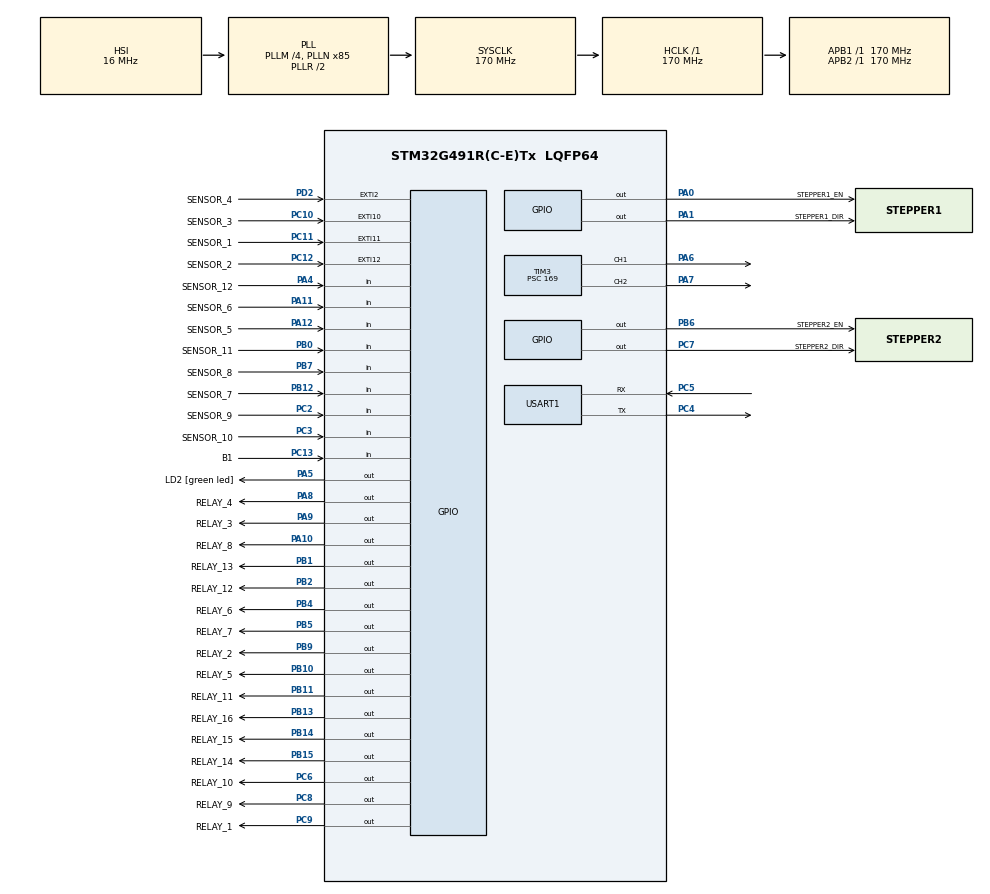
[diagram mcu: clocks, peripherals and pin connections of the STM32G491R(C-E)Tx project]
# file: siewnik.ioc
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Mcu.Family=STM32G4
Mcu.Name=STM32G491R(C-E)Tx
Mcu.Package=LQFP64
NVIC.EXTI15_10_IRQn=true\:0\:0\:false\:false\:true\:true\:true\:true
NVIC.EXTI2_IRQn=true\:0\:0\:false\:false\:true\:true\:true\:true
NVIC.PriorityGroup=NVIC_PRIORITYGROUP_4
NVIC.TIM3_IRQn=true\:0\:0\:false\:false\:true\:true\:true\:true
NVIC.USART1_IRQn=true\:0\:0\:false\:false\:true\:true\:true\:true
PA0.GPIO_Label=STEPPER1_EN
PA0.Signal=GPIO_Output
PA1.GPIO_Label=STEPPER1_DIR
PA1.Signal=GPIO_Output
PA10.GPIO_Label=RELAY_8
PA10.Signal=GPIO_Output
PA11.GPIO_Label=SENSOR_6
PA11.GPIO_PuPd=GPIO_PULLDOWN
PA11.Signal=GPIO_Input
PA12.GPIO_Label=SENSOR_5
PA12.Signal=GPIO_Input
PA13.Signal=SYS_JTMS-SWDIO
PA14.Signal=SYS_JTCK-SWCLK
PA15.Signal=SYS_JTDI
PA2.GPIO_Label=LPUART1_TX [STLINKV3E_VCP_RX]
PA2.Signal=LPUART1_TX
PA3.GPIO_Label=LPUART1_RX [STLINKV3E_VCP_TX]
PA3.Signal=LPUART1_RX
PA4.GPIO_Label=SENSOR_12
PA4.GPIO_PuPd=GPIO_PULLDOWN
PA4.Signal=GPIO_Input
PA5.GPIO_Label=LD2 [green led]
PA5.Signal=GPIO_Output
PA6.Signal=S_TIM3_CH1
PA7.Signal=S_TIM3_CH2
PA8.GPIO_Label=RELAY_4
PA8.Signal=GPIO_Output
PA9.GPIO_Label=RELAY_3
PA9.Signal=GPIO_Output
PB0.GPIO_Label=SENSOR_11
PB0.GPIO_PuPd=GPIO_PULLDOWN
PB0.Signal=GPIO_Input
PB1.GPIO_Label=RELAY_13
PB1.Signal=GPIO_Output
PB10.GPIO_Label=RELAY_5
PB10.Signal=GPIO_Output
PB11.GPIO_Label=RELAY_11
PB11.Signal=GPIO_Output
PB12.GPIO_Label=SENSOR_7
PB12.GPIO_PuPd=GPIO_PULLDOWN
PB12.Signal=GPIO_Input
PB13.GPIO_Label=RELAY_16
PB13.Signal=GPIO_Output
PB14.GPIO_Label=RELAY_15
PB14.Signal=GPIO_Output
PB15.GPIO_Label=RELAY_14
PB15.Signal=GPIO_Output
PB2.GPIO_Label=RELAY_12
PB2.Signal=GPIO_Output
PB3.GPIO_Label=T_SWO
PB3.Signal=SYS_JTDO-SWO
PB4.GPIO_Label=RELAY_6
PB4.Signal=GPIO_Output
PB5.GPIO_Label=RELAY_7
PB5.Signal=GPIO_Output
PB6.GPIO_Label=STEPPER2_EN
PB6.Signal=GPIO_Output
PB7.GPIO_Label=SENSOR_8
PB7.GPIO_PuPd=GPIO_PULLDOWN
PB7.Signal=GPIO_Input
PB9.GPIO_Label=RELAY_2
PB9.Signal=GPIO_Output
PC10.GPIO_Label=SENSOR_3
PC10.GPIO_ModeDefaultEXTI=GPIO_MODE_IT_FALLING
PC10.GPIO_PuPd=GPIO_PULLDOWN
PC10.Signal=GPXTI10
PC11.GPIO_Label=SENSOR_1
PC11.GPIO_ModeDefaultEXTI=GPIO_MODE_IT_FALLING
PC11.GPIO_PuPd=GPIO_PULLDOWN
PC11.Signal=GPXTI11
PC12.GPIO_Label=SENSOR_2
PC12.GPIO_ModeDefaultEXTI=GPIO_MODE_IT_FALLING
PC12.GPIO_PuPd=GPIO_PULLDOWN
PC12.Signal=GPXTI12
PC13.GPIO_Label=B1
PC13.GPIO_PuPd=GPIO_PULLDOWN
PC13.Signal=GPIO_Input
PC14-OSC32_IN.Signal=RCC_OSC32_IN
PC15-OSC32_OUT.Signal=RCC_OSC32_OUT
PC2.GPIO_Label=SENSOR_9
PC2.GPIO_PuPd=GPIO_PULLDOWN
PC2.Signal=GPIO_Input
PC3.GPIO_Label=SENSOR_10
PC3.GPIO_PuPd=GPIO_PULLDOWN
PC3.Signal=GPIO_Input
PC4.Mode=Asynchronous
PC4.Signal=USART1_TX
PC5.Mode=Asynchronous
PC5.Signal=USART1_RX
PC6.GPIO_Label=RELAY_10
PC6.Signal=GPIO_Output
PC7.GPIO_Label=STEPPER2_DIR
PC7.Signal=GPIO_Output
PC8.GPIO_Label=RELAY_9
PC8.Signal=GPIO_Output
PC9.GPIO_Label=RELAY_1
PC9.Signal=GPIO_Output
PD2.GPIO_Label=SENSOR_4
PD2.GPIO_ModeDefaultEXTI=GPIO_MODE_IT_FALLING
PD2.GPIO_PuPd=GPIO_PULLDOWN
PD2.Signal=GPXTI2
PF0-OSC_IN.Signal=RCC_OSC_IN
PF1-OSC_OUT.Signal=RCC_OSC_OUT
ProjectManager.HeapSize=0x200
ProjectManager.StackSize=0x400
ProjectManager.TargetToolchain=STM32CubeIDE
RCC.ADC12Freq_Value=170000000
RCC.ADC345Freq_Value=170000000
RCC.AHBFreq_Value=170000000
RCC.APB1Freq_Value=170000000
RCC.APB1TimFreq_Value=170000000
RCC.APB2Freq_Value=170000000
RCC.APB2TimFreq_Value=170000000
RCC.CortexFreq_Value=170000000
RCC.EXTERNAL_CLOCK_VALUE=12288000
RCC.HCLKFreq_Value=170000000
RCC.HSE_VALUE=24000000
RCC.HSI48_VALUE=48000000
RCC.HSI_VALUE=16000000
RCC.LSE_VALUE=32768
RCC.PLLM=RCC_PLLM_DIV4
RCC.PLLN=85
RCC.RTCClockSelection=RCC_RTCCLKSOURCE_LSE
RCC.SYSCLKFreq_VALUE=170000000
RCC.SYSCLKSource=RCC_SYSCLKSOURCE_PLLCLK
RCC.USBFreq_Value=48000000
RCC.VCOOutputFreq_Value=340000000
SH.S_TIM3_CH1.0=TIM3_CH1,PWM Generation1 CH1
SH.S_TIM3_CH2.0=TIM3_CH2,PWM Generation2 CH2
TIM3.Channel-PWM\ Generation1\ CH1=TIM_CHANNEL_1
TIM3.Channel-PWM\ Generation2\ CH2=TIM_CHANNEL_2
TIM3.PeriodNoDither=999
TIM3.Prescaler=169
USART1.VirtualMode-Asynchronous=VM_ASYNC
VP_SYS_VS_DBSignals.Mode=DisableDeadBatterySignals
VP_TIM3_VS_ClockSourceINT.Mode=Internal
board=NUCLEO-G491RE

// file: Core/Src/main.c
/* USER CODE BEGIN Header */
/**
 ******************************************************************************
 * @file           : main.c
 * @brief          : Main program body
 ******************************************************************************
 * @attention
 *
 * Copyright (c) 2024 STMicroelectronics.
 * All rights reserved.
 *
 * This software is licensed under terms that can be found in the LICENSE file
 * in the root directory of this software component.
 * If no LICENSE file comes with this software, it is provided AS-IS.
 *
 ******************************************************************************
 */
/* USER CODE END Header */
#include "main.h"
#include "tim.h"
#include "usart.h"
#include "gpio.h"

/* USER CODE BEGIN Includes */

#include "mBox->h"

void HAL_TIM_PWM_PulseFinishedCallback(TIM_HandleTypeDef *htim){
	if(htim->Instance == TIM3){
		dropper_StepIRQ(&mBox->dropper);
	}
}

void HAL_GPIO_EXTI_Callback(uint16_t GPIO_Pin){

	if(GPIO_Pin == SEED_SENSOR_CHANNEL_1_PIN	 ||
			GPIO_Pin == SEED_SENSOR_CHANNEL_2_PIN ||
			GPIO_Pin == SEED_SENSOR_CHANNEL_3_PIN){
		dropper_SeedSensorIRQ(&mBox->dropper);
	}
	else if(GPIO_Pin == DROPPER_HOMING_SENSOR_PIN){
		dropper_HomingSensorIRQ(&mBox->dropper);
	}
}

/* USER CODE END Includes */

void SystemClock_Config(void);

int main(void)
{

	/* MCU Configuration--------------------------------------------------------*/

	/* Reset of all peripherals, Initializes the Flash interface and the Systick. */
	HAL_Init();

	/* Configure the system clock */
	SystemClock_Config();

	/* Initialize all configured peripherals */
	MX_GPIO_Init();
	MX_TIM3_Init();
	MX_USART1_UART_Init();
	/* USER CODE BEGIN 2 */

	_dropper_Init();
	HAL_Delay(2000);

	GPIO_PinState s5 = HAL_GPIO_ReadPin(SENSOR_5_GPIO_Port, SENSOR_5_Pin);
	GPIO_PinState s6 = HAL_GPIO_ReadPin(SENSOR_6_GPIO_Port, SENSOR_6_Pin);
	GPIO_PinState s7 = HAL_GPIO_ReadPin(SENSOR_7_GPIO_Port, SENSOR_7_Pin);
	GPIO_PinState s8 = HAL_GPIO_ReadPin(SENSOR_8_GPIO_Port, SENSOR_8_Pin);
	GPIO_PinState s9 = HAL_GPIO_ReadPin(SENSOR_9_GPIO_Port, SENSOR_9_Pin);
	GPIO_PinState s10 = HAL_GPIO_ReadPin(SENSOR_10_GPIO_Port, SENSOR_10_Pin);
	GPIO_PinState s11 = HAL_GPIO_ReadPin(SENSOR_11_GPIO_Port, SENSOR_11_Pin);
	GPIO_PinState s12 = HAL_GPIO_ReadPin(SENSOR_12_GPIO_Port, SENSOR_12_Pin);

	/* USER CODE END 2 */

	/* Infinite loop */
	/* USER CODE BEGIN WHILE */
	while (1)
	{
		if(box_main_UART.msgReadyToRead) _dropper_execCmd();

		if(s5 != HAL_GPIO_ReadPin(SENSOR_5_GPIO_Port, SENSOR_5_Pin)){
			Communication_SendMsg(&mBox->box_Communication_Handler, "S5 zmienil stan\r\n");
			HAL_Delay(500);
		}
		if(s6 != HAL_GPIO_ReadPin(SENSOR_6_GPIO_Port, SENSOR_6_Pin)){
			Communication_SendMsg(&mBox->box_Communication_Handler,"S6 zmienil stan\r\n");
			HAL_Delay(500);
		}
		if(s7 != HAL_GPIO_ReadPin(SENSOR_7_GPIO_Port, SENSOR_7_Pin)){
			Communication_SendMsg(&mBox->box_Communication_Handler,"S7 zmienil stan\r\n");
			HAL_Delay(500);
			//dolny max
		}
		if(s8 != HAL_GPIO_ReadPin(SENSOR_8_GPIO_Port, SENSOR_8_Pin)){
			Communication_SendMsg(&mBox->box_Communication_Handler,"S8 zmienil stan\r\n");
			HAL_Delay(500);
			//dolny min
		}
		if(s9 != HAL_GPIO_ReadPin(SENSOR_9_GPIO_Port, SENSOR_9_Pin)){
			Communication_SendMsg(&mBox->box_Communication_Handler,"S9 zmienil stan\r\n");
			HAL_Delay(500);
		}
		if(s10 != HAL_GPIO_ReadPin(SENSOR_10_GPIO_Port, SENSOR_10_Pin)){
			Communication_SendMsg(&mBox->box_Communication_Handler,"S10 zmienil stan\r\n");
			HAL_Delay(500);
		}
		if(s11 != HAL_GPIO_ReadPin(SENSOR_11_GPIO_Port, SENSOR_11_Pin)){
			Communication_SendMsg(&mBox->box_Communication_Handler,"S11 zmienil stan\r\n");
			HAL_Delay(500);
		}
		if(s12 != HAL_GPIO_ReadPin(SENSOR_12_GPIO_Port, SENSOR_12_Pin)){
			Communication_SendMsg(&mBox->box_Communication_Handler,"S12 zmienil stan\r\n");
			HAL_Delay(500);
		}

		/* USER CODE END WHILE */

	}
}

void SystemClock_Config(void)
{
	RCC_OscInitTypeDef RCC_OscInitStruct = {0};
	RCC_ClkInitTypeDef RCC_ClkInitStruct = {0};

	/** Configure the main internal regulator output voltage
	 */
	HAL_PWREx_ControlVoltageScaling(PWR_REGULATOR_VOLTAGE_SCALE1_BOOST);

	/** Initializes the RCC Oscillators according to the specified parameters
	 * in the RCC_OscInitTypeDef structure.
	 */
	RCC_OscInitStruct.OscillatorType = RCC_OSCILLATORTYPE_HSI;
	RCC_OscInitStruct.HSIState = RCC_HSI_ON;
	RCC_OscInitStruct.HSICalibrationValue = RCC_HSICALIBRATION_DEFAULT;
	RCC_OscInitStruct.PLL.PLLState = RCC_PLL_ON;
	RCC_OscInitStruct.PLL.PLLSource = RCC_PLLSOURCE_HSI;
	RCC_OscInitStruct.PLL.PLLM = RCC_PLLM_DIV4;
	RCC_OscInitStruct.PLL.PLLN = 85;
	RCC_OscInitStruct.PLL.PLLP = RCC_PLLP_DIV2;
	RCC_OscInitStruct.PLL.PLLQ = RCC_PLLQ_DIV2;
	RCC_OscInitStruct.PLL.PLLR = RCC_PLLR_DIV2;
	if (HAL_RCC_OscConfig(&RCC_OscInitStruct) != HAL_OK)
	{
		Error_Handler();
	}

	/** Initializes the CPU, AHB and APB buses clocks
	 */
	RCC_ClkInitStruct.ClockType = RCC_CLOCKTYPE_HCLK|RCC_CLOCKTYPE_SYSCLK
			|RCC_CLOCKTYPE_PCLK1|RCC_CLOCKTYPE_PCLK2;
	RCC_ClkInitStruct.SYSCLKSource = RCC_SYSCLKSOURCE_PLLCLK;
	RCC_ClkInitStruct.AHBCLKDivider = RCC_SYSCLK_DIV1;
	RCC_ClkInitStruct.APB1CLKDivider = RCC_HCLK_DIV1;
	RCC_ClkInitStruct.APB2CLKDivider = RCC_HCLK_DIV1;

	if (HAL_RCC_ClockConfig(&RCC_ClkInitStruct, FLASH_LATENCY_4) != HAL_OK)
	{
		Error_Handler();
	}
}

void Error_Handler(void)
{
	__disable_irq();
	while (1)
	{
	}
}
